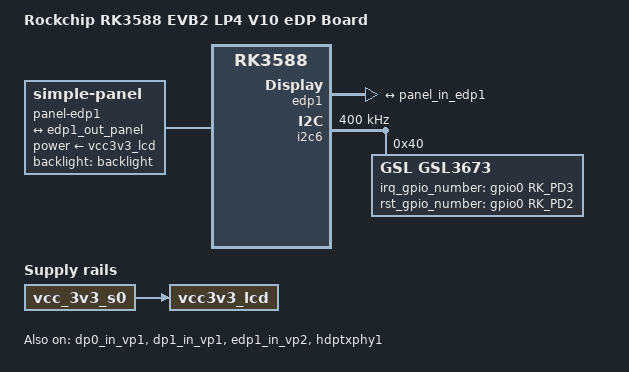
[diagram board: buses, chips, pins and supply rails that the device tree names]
// SPDX-License-Identifier: (GPL-2.0+ OR MIT)
// Copyright (c) 2021 Rockchip Electronics Co., Ltd.

/dts-v1/;

#include "rk3588-evb2-lp4.dtsi"
#include "rk3588-android.dtsi"

/ {
	model = "Rockchip RK3588 EVB2 LP4 V10 eDP Board";
	compatible = "rockchip,rk3588-evb2-lp4-v10-edp", "rockchip,rk3588";

	panel-edp1 {
		compatible = "simple-panel";
		backlight = <&backlight>;
		power-supply = <&vcc3v3_lcd>;
		prepare-delay-ms = <120>;
		enable-delay-ms = <120>;
		unprepare-delay-ms = <120>;
		disable-delay-ms = <120>;
		width-mm = <129>;
		height-mm = <171>;

		panel-timing {
			clock-frequency = <200000000>;
			hactive = <1536>;
			vactive = <2048>;
			hfront-porch = <12>;
			hsync-len = <16>;
			hback-porch = <48>;
			vfront-porch = <8>;
			vsync-len = <4>;
			vback-porch = <8>;
			hsync-active = <0>;
			vsync-active = <0>;
			de-active = <0>;
			pixelclk-active = <0>;
		};

		port {
			panel_in_edp1: endpoint {
				remote-endpoint = <&edp1_out_panel>;
			};
		};
	};

	vcc3v3_lcd: vcc3v3-lcd {
		compatible = "regulator-fixed";
		regulator-name = "vcc3v3_lcd";
		vin-supply = <&vcc_3v3_s0>;
	};
};

&backlight {
	enable-gpios = <&gpio1 RK_PC4 GPIO_ACTIVE_HIGH>;
};

&dp0_in_vp0 {
	status = "disabled";
};

&dp0_in_vp1 {
	status = "okay";
};

&dp0_in_vp2 {
	status = "disabled";
};

&dp1_in_vp0 {
	status = "disabled";
};

&dp1_in_vp1 {
	status = "okay";
};

&dp1_in_vp2 {
	status = "disabled";
};

&dsi1 {
	status = "disabled";
};

&edp1 {
	force-hpd;
	status = "okay";

	ports {
		port@1 {
			reg = <1>;

			edp1_out_panel: endpoint {
				remote-endpoint = <&panel_in_edp1>;
			};
		};
	};
};

&edp1_in_vp0 {
	status = "disabled";
};

&edp1_in_vp1 {
	status = "disabled";
};

&edp1_in_vp2 {
	status = "okay";
};

&gt1x {
	status = "disabled";
};

&hdptxphy1 {
	status = "okay";
};

&i2c6 {
	clock-frequency = <400000>;
	status = "okay";

	gsl3673@40 {
		compatible = "GSL,GSL3673";
		reg = <0x40>;
		screen_max_x = <1536>;
		screen_max_y = <2048>;
		irq_gpio_number = <&gpio0 RK_PD3 IRQ_TYPE_LEVEL_LOW>;
		rst_gpio_number = <&gpio0 RK_PD2 GPIO_ACTIVE_HIGH>;
	};
};

&vcc3v3_lcd_n {
	/delete-property/ gpio;
};
